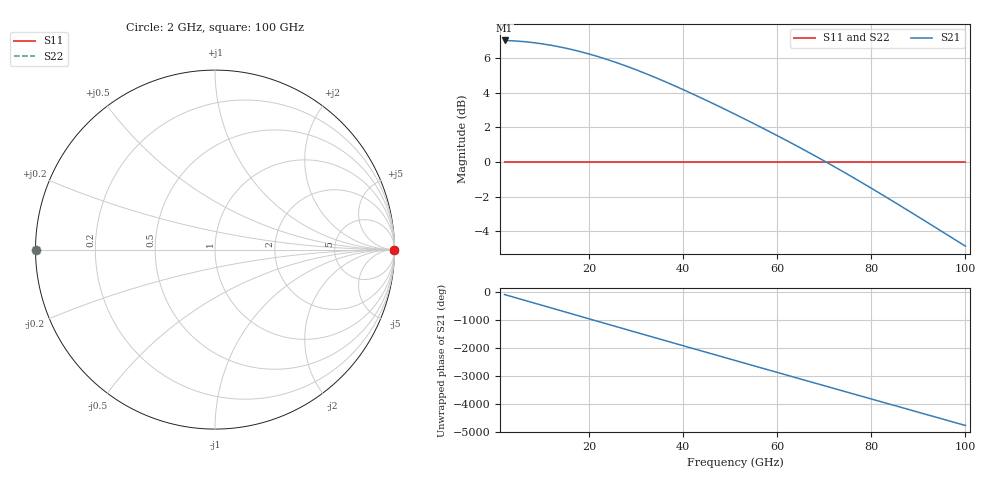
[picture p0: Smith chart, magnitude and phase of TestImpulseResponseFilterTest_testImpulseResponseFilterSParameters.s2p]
! File created by SignalIntegrity v1.1.17: Signal and Power Integrity Tools
! https://github.com/TeledyneLeCroy/SignalIntegrity
# MHz S MA R 50.0
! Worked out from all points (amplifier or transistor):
!   50 points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, 2 GHz to 100 GHz, reference 50 ohm
!   highest |S21| = 7.0 dB at 2 GHz (marker M1)
!   |S21| within 3 dB of that: start of sweep to 41.2 GHz
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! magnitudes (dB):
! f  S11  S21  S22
! 2 GHz  0.0  7.0  0.0
! 4 GHz  0.0  7.0  0.0
! 6 GHz  0.0  7.0  0.0
! 10 GHz  0.0  6.8  0.0
! 14 GHz  0.0  6.6  0.0
! 16 GHz  0.0  6.5  0.0
! 20 GHz  0.0  6.3  0.0
! 24 GHz  0.0  5.9  0.0
! 28 GHz  0.0  5.5  0.0
! 32 GHz  0.0  5.1  0.0
! 36 GHz  0.0  4.7  0.0
! 40 GHz  0.0  4.2  0.0
! 44 GHz  0.0  3.7  0.0
! 52 GHz  0.0  2.6  0.0
! 60 GHz  0.0  1.5  0.0
! 64 GHz  0.0  0.9  0.0
! 68 GHz  0.0  0.4  0.0
! 72 GHz  0.0  -0.3  0.0
! 76 GHz  0.0  -0.9  0.0
! 84 GHz  0.0  -2.2  0.0
! 92 GHz  0.0  -3.5  0.0
! 100 GHz  0.0  -4.9  0.0
